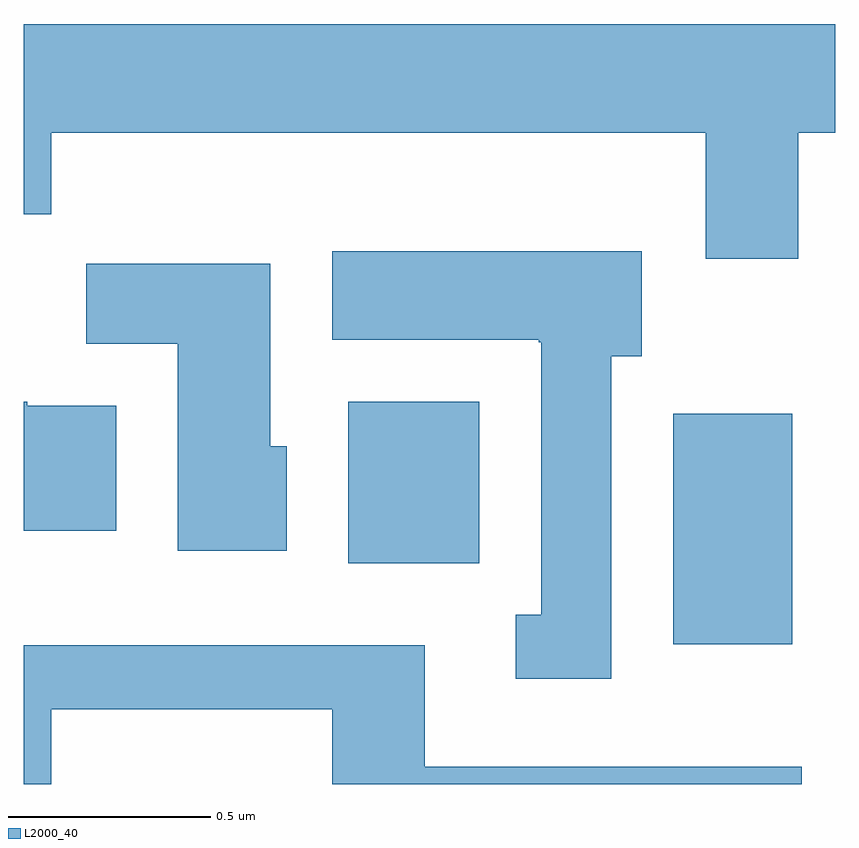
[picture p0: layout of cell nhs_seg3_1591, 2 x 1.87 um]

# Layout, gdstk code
import gdstk
lib = gdstk.Library(unit=1e-6, precision=1e-09)
def R(c, l, rs):  # rectangles x0, y0, x1, y1
    for r in rs: c.add(gdstk.rectangle(r[:2], r[2:], *l))
def P(c, l, *ps):  # polygons
    for p in ps: c.add(gdstk.Polygon(p, *l))
L2000_40 = (2000, 40)

nhs_seg3_1591 = lib.new_cell('nhs_seg3_1591')
R(nhs_seg3_1591, L2000_40, [(198.211,1200.236,198.504,1200.804), (197.411,1200.436,197.734,1200.834)])
P(nhs_seg3_1591, L2000_40, [(198.519,1201.496),(198.611,1201.496),(198.611,1201.764),(196.611,1201.764),(196.611,1201.296),(196.679,1201.296),(196.679,1201.496),(198.291,1201.496),(198.291,1201.186),(198.519,1201.186)],
  [(198.059,1200.946),(198.134,1200.946),(198.134,1201.204),(197.371,1201.204),(197.371,1200.986),(197.88,1200.986),(197.88,1200.98),(197.886,1200.98),(197.886,1200.309),(197.823,1200.309),(197.823,1200.151),(198.059,1200.151)],
  [(197.259,1200.724),(197.219,1200.724),(197.219,1201.174),(196.766,1201.174),(196.766,1200.976),(196.991,1200.976),(196.991,1200.466),(197.259,1200.466)],
  [(196.839,1200.824),(196.62,1200.824),(196.62,1200.834),(196.611,1200.834),(196.611,1200.516),(196.839,1200.516)],
  [(196.679,1200.076),(197.371,1200.076),(197.371,1199.892),(198.528,1199.892),(198.528,1199.934),(197.599,1199.934),(197.599,1200.234),(196.611,1200.234),(196.611,1199.892),(196.679,1199.892)])

lib.write_gds('nhs_seg3_1591.gds')
